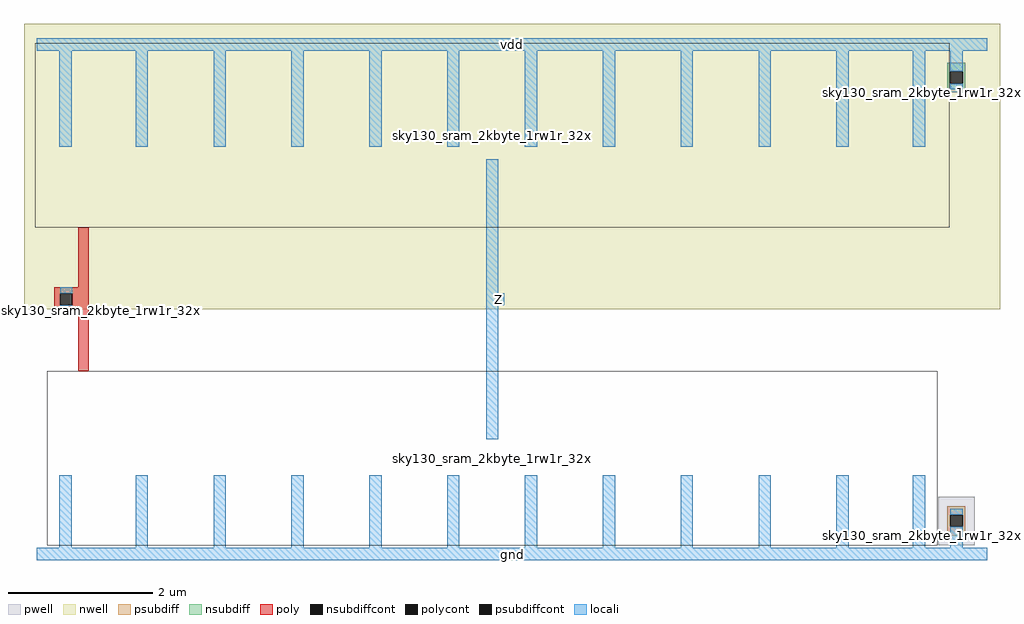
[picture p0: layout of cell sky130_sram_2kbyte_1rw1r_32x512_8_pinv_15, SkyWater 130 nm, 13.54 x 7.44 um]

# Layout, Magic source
magic
tech sky130A
magscale 1 2
<< nwell >>
rect -36 679 2672 1471
<< pwell >>
rect 2500 25 2602 159
<< psubdiff >>
rect 2526 109 2576 133
rect 2526 75 2534 109
rect 2568 75 2576 109
rect 2526 51 2576 75
<< nsubdiff >>
rect 2526 1339 2576 1363
rect 2526 1305 2534 1339
rect 2568 1305 2576 1339
rect 2526 1281 2576 1305
<< psubdiffcont >>
rect 2534 75 2568 109
<< nsubdiffcont >>
rect 2534 1305 2568 1339
<< poly >>
rect 114 740 144 907
rect 48 724 144 740
rect 48 690 64 724
rect 98 690 144 724
rect 48 674 144 690
rect 114 507 144 674
<< polycont >>
rect 64 690 98 724
<< locali >>
rect 0 1397 2636 1431
rect 62 1130 96 1397
rect 274 1130 308 1397
rect 490 1130 524 1397
rect 706 1130 740 1397
rect 922 1130 956 1397
rect 1138 1130 1172 1397
rect 1354 1130 1388 1397
rect 1570 1130 1604 1397
rect 1786 1130 1820 1397
rect 2002 1130 2036 1397
rect 2218 1130 2252 1397
rect 2430 1130 2464 1397
rect 2534 1339 2568 1397
rect 2534 1289 2568 1305
rect 64 724 98 740
rect 64 674 98 690
rect 1246 724 1280 1096
rect 1246 690 1297 724
rect 1246 318 1280 690
rect 62 17 96 218
rect 274 17 308 218
rect 490 17 524 218
rect 706 17 740 218
rect 922 17 956 218
rect 1138 17 1172 218
rect 1354 17 1388 218
rect 1570 17 1604 218
rect 1786 17 1820 218
rect 2002 17 2036 218
rect 2218 17 2252 218
rect 2430 17 2464 218
rect 2534 109 2568 125
rect 2534 17 2568 75
rect 0 -17 2636 17
use sky130_sram_2kbyte_1rw1r_32x512_8_contact_16  sky130_sram_2kbyte_1rw1r_32x512_8_contact_16_0
transform 1 0 48 0 1 674
box 0 0 1 1
use sky130_sram_2kbyte_1rw1r_32x512_8_contact_29  sky130_sram_2kbyte_1rw1r_32x512_8_contact_29_0
transform 1 0 2526 0 1 51
box 0 0 1 1
use sky130_sram_2kbyte_1rw1r_32x512_8_contact_28  sky130_sram_2kbyte_1rw1r_32x512_8_contact_28_0
transform 1 0 2526 0 1 1281
box 0 0 1 1
use sky130_sram_2kbyte_1rw1r_32x512_8_nmos_m22_w2_000_sli_dli_da_p  sky130_sram_2kbyte_1rw1r_32x512_8_nmos_m22_w2_000_sli_dli_da_p_0
transform 1 0 54 0 1 51
box -26 -26 2444 456
use sky130_sram_2kbyte_1rw1r_32x512_8_pmos_m22_w2_000_sli_dli_da_p  sky130_sram_2kbyte_1rw1r_32x512_8_pmos_m22_w2_000_sli_dli_da_p_0
transform 1 0 54 0 1 963
box -59 -56 2477 454
<< labels >>
rlabel locali s 81 707 81 707 4 A
port 1 nsew
rlabel locali s 1280 707 1280 707 4 Z
port 2 nsew
rlabel locali s 1318 0 1318 0 4 gnd
port 3 nsew
rlabel locali s 1318 1414 1318 1414 4 vdd
port 4 nsew
<< properties >>
string FIXED_BBOX 0 0 2636 1414
string GDS_FILE $PDKPATH/libs.ref/sky130_sram_macros/gds/sky130_sram_2kbyte_1rw1r_32x512_8.gds
string GDS_END 106162
string GDS_START 102884
<< end >>
